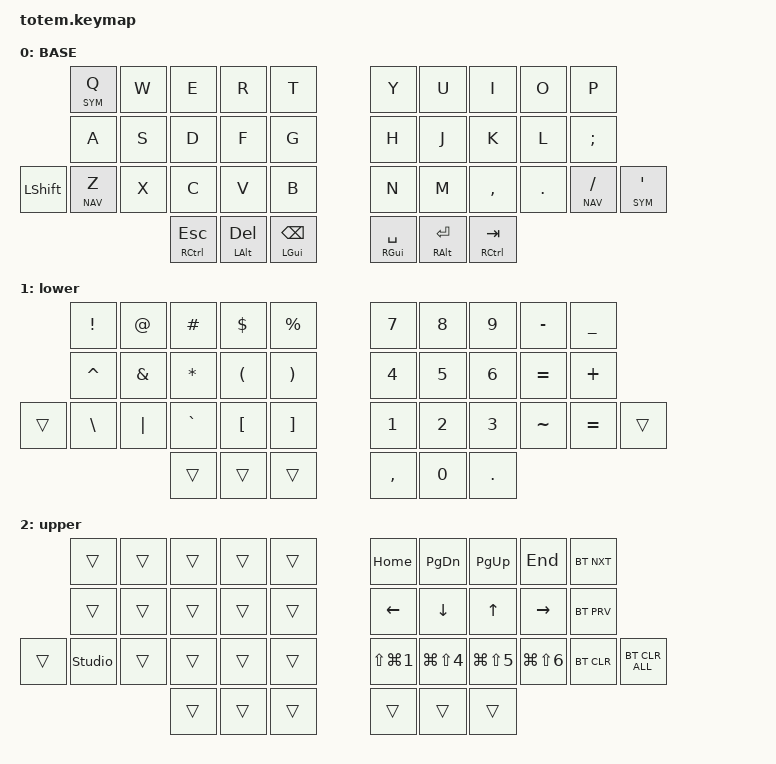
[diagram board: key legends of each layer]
//
//                                                        ▀▀▀▀▀     ▀▀▀▀▀          ▀▀█▀▀
//                                                        ▄▀▀▀▄  ▄  ▄▀▀▀▄  ▄  ▄▀▀▀▄  █  ▄▀▀▀▄
//                                                        █   █  █  █   █  █  █   █  █  █   █
//                                                         ▀▀▀   █   ▀▀▀   █   ▀▀▀   ▀   ▀▀▀
//                                                               █      ▄▄▄█▄▄▄    █   █  
//                                                               ▀      █  █  █     █▄█
//                                                             ▀▀▀▀▀    █  █  █      ▀
//                                                                      ▀  ▀  ▀
//
// ▄▄▄▄▄▄▄▄▄▄▄▄▄▄▄▄▄▄▄▄▄▄▄▄▄▄▄▄▄▄▄▄▄▄▄▄▄▄▄▄▄▄▄▄▄▄▄▄▄▄▄▄▄▄▄▄▄▄▄▄▄▄▄▄▄▄▄▄▄▄▄▄▄▄▄▄▄▄▄▄▄▄▄▄▄▄▄▄▄▄▄▄▄▄▄▄▄▄▄▄▄▄▄▄▄▄▄▄▄▄▄▄▄▄▄▄▄▄▄▄▄▄▄▄▄▄▄▄▄▄▄▄▄▄▄▄▄▄▄▄▄▄▄▄▄▄▄▄▄

#include <behaviors.dtsi>
#include <dt-bindings/zmk/bt.h>
#include <dt-bindings/zmk/keys.h>

#define BASE 0
#define SYM  1
#define NAV  2

#define LEFT_KEYS  0 1 2 3 4 10 11 12 13 14 20 21 22 23 24 25 32 33 34
#define RIGHT_KEYS 5 6 7 8 9 15 16 17 18 19 26 27 28 29 30 31 35 36 37
#define QUICK_TAP_MS 175

&mt {
    flavor = "tap-preferred";
    tapping-term-ms = <200>;
    quick-tap-ms = <QUICK_TAP_MS>;
    require-prior-idle-ms = <150>;
};

&lt {
    flavor = "balanced";
    tapping-term-ms = <200>;
    quick-tap-ms = <QUICK_TAP_MS>;
    require-prior-idle-ms = <150>;
};

/ {
    behaviors {
        lmt: left_mod_tap {
            compatible = "zmk,behavior-hold-tap";
            label = "LEFT_MOD_TAP";
            #binding-cells = <2>;
            flavor = "tap-preferred";
            tapping-term-ms = <200>;
            quick-tap-ms = <QUICK_TAP_MS>;
            require-prior-idle-ms = <150>;
            bindings = <&kp>, <&kp>;
        };

        rmt: right_mod_tap {
            compatible = "zmk,behavior-hold-tap";
            label = "RIGHT_MOD_TAP";
            #binding-cells = <2>;
            flavor = "tap-preferred";
            tapping-term-ms = <200>;
            quick-tap-ms = <QUICK_TAP_MS>;
            require-prior-idle-ms = <150>;
            bindings = <&kp>, <&kp>;
        };

        // Alpha-key layer-taps (Q, Z, /, '). Use urob-style HRM tuning:
        // longer tapping-term (280ms), cross-hand positional check, and
        // hold-trigger-on-release so the hold/tap decision is deferred until
        // key release and only resolves to "hold" if an opposite-hand key
        // was pressed and released during the hold (balanced flavor).
        llt: left_layer_tap {
            compatible = "zmk,behavior-hold-tap";
            label = "LEFT_LAYER_TAP";
            #binding-cells = <2>;
            flavor = "balanced";
            tapping-term-ms = <280>;
            quick-tap-ms = <QUICK_TAP_MS>;
            require-prior-idle-ms = <150>;
            hold-trigger-on-release;
            hold-trigger-key-positions = <RIGHT_KEYS>;
            bindings = <&mo>, <&kp>;
        };

        rlt: right_layer_tap {
            compatible = "zmk,behavior-hold-tap";
            label = "RIGHT_LAYER_TAP";
            #binding-cells = <2>;
            flavor = "balanced";
            tapping-term-ms = <280>;
            quick-tap-ms = <QUICK_TAP_MS>;
            require-prior-idle-ms = <150>;
            hold-trigger-on-release;
            hold-trigger-key-positions = <LEFT_KEYS>;
            bindings = <&mo>, <&kp>;
        };
    };

    combos { compatible = "zmk,combos"; };

    keymap {
        compatible = "zmk,keymap";

        // ▄▄▄▄▄▄▄▄▄▄▄▄▄▄▄▄▄▄▄▄▄▄▄▄▄▄▄▄▄▄▄▄▄▄▄▄▄▄▄▄▄▄▄▄▄▄▄▄▄▄▄▄▄▄▄▄▄▄▄▄▄▄▄▄▄▄▄▄▄▄▄▄▄▄▄▄▄▄▄▄▄▄▄▄▄▄▄▄▄▄▄▄▄▄▄▄▄▄▄▄▄▄▄▄▄▄▄▄▄▄▄▄▄▄▄▄▄▄▄▄▄▄▄▄▄▄▄▄▄▄▄▄▄▄▄▄▄▄▄▄▄▄▄▄▄▄▄▄▄

        base_layer {
            // ┏━━━━━━━━━━━━━━━━━━━━━━━━━━━━━━━━━━━━━━━┓

            label = "BASE";

            // ┗━━━━━━━━━━━━━━━━━━━━━━━━━━━━━━━━━━━━━━━┛
            //             ┏━━━━━━━━━━━┳━━━━━━━━━━━┳━━━━━━━━━━━┳━━━━━━━━━━━┳━━━━━━━━━━━┓   ┏━━━━━━━━━━━┳━━━━━━━━━━━┳━━━━━━━━━━━┳━━━━━━━━━━━┳━━━━━━━━━━━┓
            //             ┃  Q / SYM  ┃     W     ┃     E     ┃     R     ┃     T     ┃   ┃     Y     ┃     U     ┃     I     ┃     O     ┃     P     ┃
            //             ┣━━━━━━━━━━━╋━━━━━━━━━━━╋━━━━━━━━━━━╋━━━━━━━━━━━╋━━━━━━━━━━━┫   ┣━━━━━━━━━━━╋━━━━━━━━━━━╋━━━━━━━━━━━╋━━━━━━━━━━━╋━━━━━━━━━━━┫
            //             ┃     A     ┃     S     ┃     D     ┃     F     ┃     G     ┃   ┃     H     ┃     J     ┃     K     ┃     L     ┃     ;     ┃
            // ┏━━━━━━━━━━━╋━━━━━━━━━━━╋━━━━━━━━━━━╋━━━━━━━━━━━╋━━━━━━━━━━━╋━━━━━━━━━━━┫   ┣━━━━━━━━━━━╋━━━━━━━━━━━╋━━━━━━━━━━━╋━━━━━━━━━━━╋━━━━━━━━━━━╋━━━━━━━━━━━┓
            // ┃   LSHIFT  ┃  Z / NAV  ┃     X     ┃     C     ┃     V     ┃     B     ┃   ┃     N     ┃     M     ┃     ,     ┃     .     ┃  / / NAV  ┃  ' / SYM  ┃
            // ┗━━━━━━━━━━━┻━━━━━━━━━━━┻━━━━━━━━━━━╋━━━━━━━━━━━╋━━━━━━━━━━━╋━━━━━━━━━━━┫   ┣━━━━━━━━━━━╋━━━━━━━━━━━╋━━━━━━━━━━━╋━━━━━━━━━━━┻━━━━━━━━━━━┻━━━━━━━━━━━┛
            //                                     ┃ ESC/RCTRL ┃ DEL/LALT  ┃ BSPC/LGUI ┃   ┃ SPC/RGUI  ┃ ENT/RALT  ┃ TAB/RCTRL ┃
            //                                     ┗━━━━━━━━━━━┻━━━━━━━━━━━┻━━━━━━━━━━━┛   ┗━━━━━━━━━━━┻━━━━━━━━━━━┻━━━━━━━━━━━┛

            bindings = <
                &llt SYM Q &kp W  &kp E             &kp R             &kp T                 &kp Y           &kp U                &kp I          &kp O       &kp P
                &kp A      &kp S  &kp D             &kp F             &kp G                 &kp H           &kp J                &kp K          &kp L       &kp SEMICOLON
&kp LEFT_SHIFT  &llt NAV Z &kp X  &kp C             &kp V             &kp B                 &kp N           &kp M                &kp COMMA      &kp PERIOD  &rlt NAV SLASH &rlt SYM SQT
                                  &lmt RCTRL ESCAPE &lmt LEFT_ALT DEL &lmt LGUI BACKSPACE   &rmt RGUI SPACE &rmt RIGHT_ALT ENTER &rmt RCTRL TAB
            >;
        };

        // ▄▄▄▄▄▄▄▄▄▄▄▄▄▄▄▄▄▄▄▄▄▄▄▄▄▄▄▄▄▄▄▄▄▄▄▄▄▄▄▄▄▄▄▄▄▄▄▄▄▄▄▄▄▄▄▄▄▄▄▄▄▄▄▄▄▄▄▄▄▄▄▄▄▄▄▄▄▄▄▄▄▄▄▄▄▄▄▄▄▄▄▄▄▄▄▄▄▄▄▄▄▄▄▄▄▄▄▄▄▄▄▄▄▄▄▄▄▄▄▄▄▄▄▄▄▄▄▄▄▄▄▄▄▄▄▄▄▄▄▄▄▄▄▄▄▄▄▄▄

        numsym {
            bindings = <
        &kp EXCLAMATION  &kp AT_SIGN    &kp HASH      &kp DOLLAR            &kp PERCENT              &kp NUMBER_7  &kp N8        &kp N9        &kp MINUS  &kp UNDERSCORE
        &kp CARET        &kp AMPERSAND  &kp ASTERISK  &kp LEFT_PARENTHESIS  &kp RIGHT_PARENTHESIS    &kp NUMBER_4  &kp NUMBER_5  &kp NUMBER_6  &kp EQUAL  &kp PLUS
&trans  &kp BACKSLASH    &kp PIPE       &kp GRAVE     &kp LEFT_BRACKET      &kp RIGHT_BRACKET        &kp NUMBER_1  &kp NUMBER_2  &kp NUMBER_3  &kp TILDE  &kp EQUAL       &trans
                                        &trans        &trans                &trans                   &kp COMMA     &kp N0        &kp PERIOD
            >;

            label = "lower";
        };

        navigation {
            bindings = <
        &trans  &trans  &trans  &trans  &trans    &kp HOME              &kp PAGE_DOWN         &kp PAGE_UP     &kp END               &bt BT_NXT
        &trans  &trans  &trans  &trans  &trans    &kp LEFT              &kp DOWN              &kp UP_ARROW    &kp RIGHT             &bt BT_PRV
&trans  &studio_unlock  &trans  &trans  &trans  &trans    &kp LS(LG(NUMBER_1))  &kp LG(LS(NUMBER_4))  &kp LG(LS(N5))  &kp LG(LS(NUMBER_6))  &bt BT_CLR  &bt BT_CLR_ALL
                                &trans  &trans  &trans    &trans                &trans                &trans
            >;

            label = "upper";
        };

        // ▄▄▄▄▄▄▄▄▄▄▄▄▄▄▄▄▄▄▄▄▄▄▄▄▄▄▄▄▄▄▄▄▄▄▄▄▄▄▄▄▄▄▄▄▄▄▄▄▄▄▄▄▄▄▄▄▄▄▄▄▄▄▄▄▄▄▄▄▄▄▄▄▄▄▄▄▄▄▄▄▄▄▄▄▄▄▄▄▄▄▄▄▄▄▄▄▄▄▄▄▄▄▄▄▄▄▄▄▄▄▄▄▄▄▄▄▄▄▄▄▄▄▄▄▄▄▄▄▄▄▄▄▄▄▄▄▄▄▄▄▄▄▄▄▄▄▄▄▄
        // ▄▄▄▄▄▄▄▄▄▄▄▄▄▄▄▄▄▄▄▄▄▄▄▄▄▄▄▄▄▄▄▄▄▄▄▄▄▄▄▄▄▄▄▄▄▄▄▄▄▄▄▄▄▄▄▄▄▄▄▄▄▄▄▄▄▄▄▄▄▄▄▄▄▄▄▄▄▄▄▄▄▄▄▄▄▄▄▄▄▄▄▄▄▄▄▄▄▄▄▄▄▄▄▄▄▄▄▄▄▄▄▄▄▄▄▄▄▄▄▄▄▄▄▄▄▄▄▄▄▄▄▄▄▄▄▄▄▄▄▄▄▄▄▄▄▄▄▄▄
        // ▄▄▄▄▄▄▄▄▄▄▄▄▄▄▄▄▄▄▄▄▄▄▄▄▄▄▄▄▄▄▄▄▄▄▄▄▄▄▄▄▄▄▄▄▄▄▄▄▄▄▄▄▄▄▄▄▄▄▄▄▄▄▄▄▄▄▄▄▄▄▄▄▄▄▄▄▄▄▄▄▄▄▄▄▄▄▄▄▄▄▄▄▄▄▄▄▄▄▄▄▄▄▄▄▄▄▄▄▄▄▄▄▄▄▄▄▄▄▄▄▄▄▄▄▄▄▄▄▄▄▄▄▄▄▄▄▄▄▄▄▄▄▄▄▄▄▄▄▄
        // ▄▄▄▄▄▄▄▄▄▄▄▄▄▄▄▄▄▄▄▄▄▄▄▄▄▄▄▄▄▄▄▄▄▄▄▄▄▄▄▄▄▄▄▄▄▄▄▄▄▄▄▄▄▄▄▄▄▄▄▄▄▄▄▄▄▄▄▄▄▄▄▄▄▄▄▄▄▄▄▄▄▄▄▄▄▄▄▄▄▄▄▄▄▄▄▄▄▄▄▄▄▄▄▄▄▄▄▄▄▄▄▄▄▄▄▄▄▄▄▄▄▄▄▄▄▄▄▄▄▄▄▄▄▄▄▄▄▄▄▄▄▄▄▄▄▄▄▄▄
    };
};
